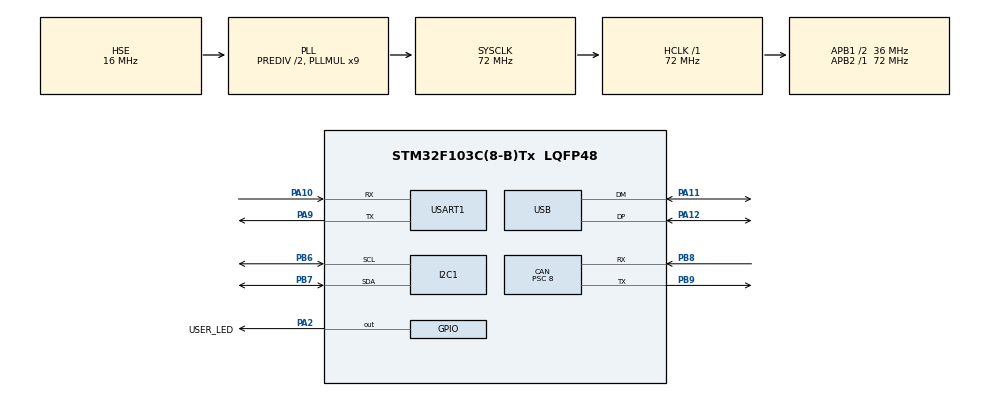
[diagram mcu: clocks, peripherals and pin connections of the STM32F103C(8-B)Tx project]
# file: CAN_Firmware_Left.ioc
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CAN.BS1=CAN_BS1_4TQ
CAN.BS2=CAN_BS2_4TQ
CAN.CalculateBaudRate=500000
CAN.CalculateTimeBit=2000
CAN.CalculateTimeQuantum=222.22222222222223
CAN.Mode=CAN_MODE_LOOPBACK
CAN.NART=ENABLE
CAN.Prescaler=8
CAN.SJW=CAN_SJW_2TQ
Mcu.Family=STM32F1
Mcu.Name=STM32F103C(8-B)Tx
Mcu.Package=LQFP48
NVIC.PriorityGroup=NVIC_PRIORITYGROUP_4
PA10.Mode=Asynchronous
PA10.Signal=USART1_RX
PA11.Mode=Device
PA11.Signal=USB_DM
PA12.Mode=Device
PA12.Signal=USB_DP
PA13.Mode=Serial_Wire
PA13.Signal=SYS_JTMS-SWDIO
PA14.Mode=Serial_Wire
PA14.Signal=SYS_JTCK-SWCLK
PA2.GPIO_Label=USER_LED
PA2.Signal=GPIO_Output
PA9.Mode=Asynchronous
PA9.Signal=USART1_TX
PB6.Mode=I2C
PB6.Signal=I2C1_SCL
PB7.Mode=I2C
PB7.Signal=I2C1_SDA
PB8.GPIO_PuPd=GPIO_PULLUP
PB8.Mode=CAN_Activate
PB8.Signal=CAN_RX
PB9.Mode=CAN_Activate
PB9.Signal=CAN_TX
PD0-OSC_IN.Mode=HSE-External-Oscillator
PD0-OSC_IN.Signal=RCC_OSC_IN
PD1-OSC_OUT.Mode=HSE-External-Oscillator
PD1-OSC_OUT.Signal=RCC_OSC_OUT
ProjectManager.HeapSize=0x200
ProjectManager.StackSize=0x400
ProjectManager.TargetToolchain=Makefile
RCC.AHBFreq_Value=72000000
RCC.APB1CLKDivider=RCC_HCLK_DIV2
RCC.APB1Freq_Value=36000000
RCC.APB1TimFreq_Value=72000000
RCC.APB2Freq_Value=72000000
RCC.APB2TimFreq_Value=72000000
RCC.HCLKFreq_Value=72000000
RCC.HSEDivPLL=RCC_HSE_PREDIV_DIV2
RCC.HSE_VALUE=16000000
RCC.PLLMUL=RCC_PLL_MUL9
RCC.PLLSourceVirtual=RCC_PLLSOURCE_HSE
RCC.SYSCLKFreq_VALUE=72000000
RCC.SYSCLKSource=RCC_SYSCLKSOURCE_PLLCLK
RCC.USBFreq_Value=48000000
RCC.USBPrescaler=RCC_USBCLKSOURCE_PLL_DIV1_5
USART1.VirtualMode=VM_ASYNC
board=custom

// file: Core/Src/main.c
/* USER CODE BEGIN Header */
/**
  ******************************************************************************
  * @file           : main.c
  * @brief          : Main program body
  ******************************************************************************
  * @attention
  *
  * Copyright (c) 2025 STMicroelectronics.
  * All rights reserved.
  *
  * This software is licensed under terms that can be found in the LICENSE file
  * in the root directory of this software component.
  * If no LICENSE file comes with this software, it is provided AS-IS.
  *
  ******************************************************************************
  */
/* USER CODE END Header */
#include "main.h"
#include "can.h"
#include "i2c.h"
#include "usart.h"
#include "usb.h"
#include "gpio.h"

/* USER CODE BEGIN Includes */
#include <stdio.h>

/* USER CODE END Includes */

/* USER CODE BEGIN PV */

CAN_TxHeaderTypeDef   TxHeader;
CAN_RxHeaderTypeDef   RxHeader; //CAN Bus Transmit Header
uint8_t               TxData[8];
uint32_t              TxMailbox;
CAN_FilterTypeDef canfil; //CAN Bus Filter
uint32_t canMailbox; //CAN Bus Mail box variable

uint8_t canRX[8] = {0x0,0x0,0x0,0x0,0x0,0x0,0x0,0x0};  //CAN Bus Receive Buffer

/* USER CODE END PV */

void SystemClock_Config(void);
/* USER CODE BEGIN PFP */
#define PUTCHAR_PROTOTYPE int __io_putchar(int ch)

/* USER CODE END PFP */

int main(void)
{

  /* MCU Configuration--------------------------------------------------------*/

  /* Reset of all peripherals, Initializes the Flash interface and the Systick. */
  HAL_Init();

  /* Configure the system clock */
  SystemClock_Config();

  /* Initialize all configured peripherals */
  MX_GPIO_Init();
  MX_CAN_Init();
  MX_I2C1_Init();
  MX_USART1_UART_Init();
  MX_USB_PCD_Init();
  /* USER CODE BEGIN 2 */

  CAN_FilterTypeDef canfilterconfig;

  canfil.FilterBank = 0;
  canfil.FilterMode = CAN_FILTERMODE_IDMASK;
  canfil.FilterFIFOAssignment = CAN_RX_FIFO0;
  canfil.FilterIdHigh = 0;
  canfil.FilterIdLow = 0;
  canfil.FilterMaskIdHigh = 0;
  canfil.FilterMaskIdLow = 0;
  canfil.FilterScale = CAN_FILTERSCALE_32BIT;
  canfil.FilterActivation = ENABLE;
  canfil.SlaveStartFilterBank = 14;

  TxHeader.IDE = CAN_ID_EXT;
  TxHeader.ExtId = 0x0CF11E05;
  TxHeader.RTR = CAN_RTR_DATA;
  TxHeader.DLC = 2;

  TxData[0] = 0x9;
  TxData[1] = 0x10;
  TxData[2] = 0x11;
  TxData[3] = 0x04;
  TxData[4] = 0x05;
  TxData[5] = 0x06;
  TxData[6] = 0x07;
  TxData[7] = 0x11;

  //char msg[] = "Hello, UART!\r\n";

  HAL_CAN_ConfigFilter(&hcan,&canfil);
  HAL_CAN_Start(&hcan);
  HAL_CAN_ActivateNotification(&hcan,CAN_IT_RX_FIFO0_MSG_PENDING);

  if (HAL_CAN_ActivateNotification(&hcan, CAN_IT_RX_FIFO0_MSG_PENDING) != HAL_OK)
  {
	  Error_Handler();
  }

  /* USER CODE END 2 */

  /* Infinite loop */
  /* USER CODE BEGIN WHILE */
  while (1)
  {
    HAL_Delay(500);
    HAL_GPIO_TogglePin(USER_LED_GPIO_Port, USER_LED_Pin);

    // uint32_t free_mailboxes = HAL_CAN_GetTxMailboxesFreeLevel(&hcan);
    // printf("Free Mailboxes: %lu\n", free_mailboxes);

    if (HAL_CAN_AddTxMessage(&hcan, &TxHeader, TxData, &TxMailbox) != HAL_OK)
    {
      //Error_Handler ();
    }

    // if(HAL_CAN_IsTxMessagePending(&hcan, &canMailbox) != 0){
    //   printf("Full mailbox\r\n");
    // }
    // if (HAL_CAN_GetRxMessage(&hcan, CAN_RX_FIFO0, &RxHeader, canRX) == HAL_OK) {
    //   printf("received message\r");
    //   printf("Message length is %ld byte(s)\r\n", RxHeader.DLC);
    //   for (uint8_t i = 0; i < 8; i++) {
    //     printf("Byte %d: 0x%02X\r\n", i, canRX[i]);
    //   }
    // }

    /* USER CODE END WHILE */

  }
}

void SystemClock_Config(void)
{
  RCC_OscInitTypeDef RCC_OscInitStruct = {0};
  RCC_ClkInitTypeDef RCC_ClkInitStruct = {0};
  RCC_PeriphCLKInitTypeDef PeriphClkInit = {0};

  /** Initializes the RCC Oscillators according to the specified parameters
  * in the RCC_OscInitTypeDef structure.
  */
  RCC_OscInitStruct.OscillatorType = RCC_OSCILLATORTYPE_HSE;
  RCC_OscInitStruct.HSEState = RCC_HSE_ON;
  RCC_OscInitStruct.HSEPredivValue = RCC_HSE_PREDIV_DIV2;
  RCC_OscInitStruct.HSIState = RCC_HSI_ON;
  RCC_OscInitStruct.PLL.PLLState = RCC_PLL_ON;
  RCC_OscInitStruct.PLL.PLLSource = RCC_PLLSOURCE_HSE;
  RCC_OscInitStruct.PLL.PLLMUL = RCC_PLL_MUL9;
  if (HAL_RCC_OscConfig(&RCC_OscInitStruct) != HAL_OK)
  {
    Error_Handler();
  }

  /** Initializes the CPU, AHB and APB buses clocks
  */
  RCC_ClkInitStruct.ClockType = RCC_CLOCKTYPE_HCLK|RCC_CLOCKTYPE_SYSCLK
                              |RCC_CLOCKTYPE_PCLK1|RCC_CLOCKTYPE_PCLK2;
  RCC_ClkInitStruct.SYSCLKSource = RCC_SYSCLKSOURCE_PLLCLK;
  RCC_ClkInitStruct.AHBCLKDivider = RCC_SYSCLK_DIV1;
  RCC_ClkInitStruct.APB1CLKDivider = RCC_HCLK_DIV2;
  RCC_ClkInitStruct.APB2CLKDivider = RCC_HCLK_DIV1;

  if (HAL_RCC_ClockConfig(&RCC_ClkInitStruct, FLASH_LATENCY_2) != HAL_OK)
  {
    Error_Handler();
  }
  PeriphClkInit.PeriphClockSelection = RCC_PERIPHCLK_USB;
  PeriphClkInit.UsbClockSelection = RCC_USBCLKSOURCE_PLL_DIV1_5;
  if (HAL_RCCEx_PeriphCLKConfig(&PeriphClkInit) != HAL_OK)
  {
    Error_Handler();
  }
}

/* USER CODE BEGIN 4 */
PUTCHAR_PROTOTYPE
{
  /* Place your implementation of fputc here */
  /* e.g. write a character to the USART1 and Loop until the end of transmission */
  HAL_UART_Transmit(&huart1, (uint8_t *)&ch, 1, 0xFFFF);

  return ch;
}

void send_uart_message(char *message) {
    HAL_UART_Transmit(&huart1, (uint8_t *)message, strlen(message), HAL_MAX_DELAY);
}

/**
  * @brief  Reads CANBUS message from FIFO buffer
  * @author Peter Woolsey
  * @retval None
  */
void HAL_CAN_RxFifo0MsgPendingCallback(CAN_HandleTypeDef *hcan1)
{
  //printf("Recieved CANBUS message...\r\n");
	if (HAL_CAN_GetRxMessage(hcan1, CAN_RX_FIFO0, &RxHeader, canRX) != HAL_OK)
  {
    //printf("CAN Message Read Failed. HAL ERROR... \r\n");
  }
  else
  {

    // Get header info...
    if (RxHeader.IDE == CAN_ID_STD)
    {
      printf("Message has standard ID type...\r\n");
      printf("Message ID:\t%#lx\r\n",RxHeader.StdId);
    }
    else if (RxHeader.IDE == CAN_ID_EXT)
    {
      printf("Message has extended ID type...\r\n");
      printf("Message ID:\t%#lx\r\n",RxHeader.ExtId);

      if(RxHeader.ExtId == 0x0CF11E05){
        printRPM(canRX[0], canRX[1]);
      }
    }
    else
    {
      //printf("ERROR: Unknown IDE type\r\n");
      return;
    }

    // Get data...
    // If len(data) < 8 (less than 64 bytes) does the data fill from the front or the back of the array?
    printf("Message length is %ld byte(s)\n", RxHeader.DLC);
    for (uint8_t i = 0; i < 8; i++) {
        printf("Byte %d: 0x%02X\r\n", i, canRX[i]);
    }

  }

}
void printRPM(uint8_t LSB, uint8_t MSB){
  int RPM;
  RPM = MSB * 256 + LSB;
  printf("RPM: %d", RPM);
}

/* USER CODE END 4 */

void Error_Handler(void)
{
  /* USER CODE BEGIN Error_Handler_Debug */
  /* User can add his own implementation to report the HAL error return state */
  __disable_irq();
  while (1)
  {
    //printf("bruh");
    HAL_GPIO_TogglePin(USER_LED_GPIO_Port, USER_LED_Pin);
    HAL_Delay(200);
  }
  /* USER CODE END Error_Handler_Debug */
}
